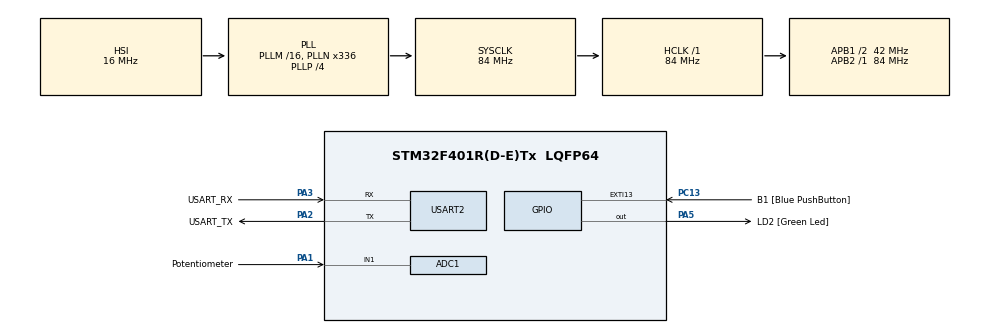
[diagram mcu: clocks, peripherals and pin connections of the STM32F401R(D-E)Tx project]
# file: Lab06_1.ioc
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ADC1.Channel-0\#ChannelRegularConversion=ADC_CHANNEL_1
ADC1.NbrOfConversionFlag=1
ADC1.Rank-0\#ChannelRegularConversion=1
ADC1.SamplingTime-0\#ChannelRegularConversion=ADC_SAMPLETIME_480CYCLES
ADC1.master=1
Dma.Request0=USART2_TX
Dma.USART2_TX.0.Direction=DMA_MEMORY_TO_PERIPH
Dma.USART2_TX.0.FIFOMode=DMA_FIFOMODE_DISABLE
Dma.USART2_TX.0.Instance=DMA1_Stream6
Dma.USART2_TX.0.MemDataAlignment=DMA_MDATAALIGN_BYTE
Dma.USART2_TX.0.MemInc=DMA_MINC_ENABLE
Dma.USART2_TX.0.Mode=DMA_NORMAL
Dma.USART2_TX.0.PeriphDataAlignment=DMA_PDATAALIGN_BYTE
Dma.USART2_TX.0.PeriphInc=DMA_PINC_DISABLE
Dma.USART2_TX.0.Priority=DMA_PRIORITY_HIGH
Mcu.Family=STM32F4
Mcu.Name=STM32F401R(D-E)Tx
Mcu.Package=LQFP64
NVIC.DMA1_Stream6_IRQn=true\:0\:0\:false\:false\:true\:false\:true\:true
NVIC.PriorityGroup=NVIC_PRIORITYGROUP_4
NVIC.TIM2_IRQn=true\:0\:0\:false\:false\:true\:true\:true\:true
NVIC.USART2_IRQn=true\:0\:0\:false\:false\:true\:true\:true\:true
PA1.GPIO_Label=Potentiometer
PA1.Signal=ADCx_IN1
PA13.GPIO_Label=TMS
PA13.Mode=Trace_Asynchronous_SW
PA13.Signal=SYS_JTMS-SWDIO
PA14.GPIO_Label=TCK
PA14.Mode=Trace_Asynchronous_SW
PA14.Signal=SYS_JTCK-SWCLK
PA2.GPIO_Label=USART_TX
PA2.GPIO_Mode=GPIO_MODE_AF_PP
PA2.GPIO_PuPd=GPIO_NOPULL
PA2.GPIO_Speed=GPIO_SPEED_FREQ_LOW
PA2.Mode=Asynchronous
PA2.Signal=USART2_TX
PA3.GPIO_Label=USART_RX
PA3.GPIO_Mode=GPIO_MODE_AF_PP
PA3.GPIO_PuPd=GPIO_NOPULL
PA3.GPIO_Speed=GPIO_SPEED_FREQ_LOW
PA3.Mode=Asynchronous
PA3.Signal=USART2_RX
PA5.GPIO_Label=LD2 [Green Led]
PA5.GPIO_Mode=GPIO_MODE_OUTPUT_PP
PA5.GPIO_PuPd=GPIO_NOPULL
PA5.GPIO_Speed=GPIO_SPEED_FREQ_LOW
PA5.Signal=GPIO_Output
PB3.GPIO_Label=SWO
PB3.Mode=Trace_Asynchronous_SW
PB3.Signal=SYS_JTDO-SWO
PC13-ANTI_TAMP.GPIO_Label=B1 [Blue PushButton]
PC13-ANTI_TAMP.GPIO_ModeDefaultEXTI=GPIO_MODE_IT_FALLING
PC13-ANTI_TAMP.GPIO_PuPd=GPIO_NOPULL
PC13-ANTI_TAMP.Signal=GPXTI13
PC14-OSC32_IN.Mode=LSE-External-Oscillator
PC14-OSC32_IN.Signal=RCC_OSC32_IN
PC15-OSC32_OUT.Mode=LSE-External-Oscillator
PC15-OSC32_OUT.Signal=RCC_OSC32_OUT
PH0\ -\ OSC_IN.Mode=HSE-External-Clock-Source
PH0\ -\ OSC_IN.Signal=RCC_OSC_IN
PH1\ -\ OSC_OUT.Mode=HSE-External-Clock-Source
PH1\ -\ OSC_OUT.Signal=RCC_OSC_OUT
ProjectManager.HeapSize=0x200
ProjectManager.StackSize=0x400
ProjectManager.TargetToolchain=STM32CubeIDE
RCC.48MHZClocksFreq_Value=48000000
RCC.AHBFreq_Value=84000000
RCC.APB1CLKDivider=RCC_HCLK_DIV2
RCC.APB1Freq_Value=42000000
RCC.APB1TimFreq_Value=84000000
RCC.APB2Freq_Value=84000000
RCC.APB2TimFreq_Value=84000000
RCC.CortexFreq_Value=84000000
RCC.HCLKFreq_Value=84000000
RCC.HSE_VALUE=8000000
RCC.HSI_VALUE=16000000
RCC.PLLN=336
RCC.PLLP=RCC_PLLP_DIV4
RCC.PLLQ=7
RCC.SYSCLKFreq_VALUE=84000000
RCC.SYSCLKSource=RCC_SYSCLKSOURCE_PLLCLK
RCC.VCOOutputFreq_Value=336000000
SH.ADCx_IN1.0=ADC1_IN1,IN1
TIM2.Period=839999
TIM2.Prescaler=99
USART2.VirtualMode=VM_ASYNC
VP_TIM2_VS_ClockSourceINT.Mode=Internal
board=NUCLEO-F401RE

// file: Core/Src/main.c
/* USER CODE BEGIN Header */
/**
  ******************************************************************************
  * @file           : main.c
  * @brief          : Main program body
  ******************************************************************************
  * @attention
  *
  * Copyright (c) 2026 STMicroelectronics.
  * All rights reserved.
  *
  * This software is licensed under terms that can be found in the LICENSE file
  * in the root directory of this software component.
  * If no LICENSE file comes with this software, it is provided AS-IS.
  *
  ******************************************************************************
  */
/* USER CODE END Header */
#include "main.h"

/* USER CODE BEGIN Includes */
#include "stdio.h"
#include "string.h"

/* USER CODE END Includes */

ADC_HandleTypeDef hadc1;

TIM_HandleTypeDef htim2;

UART_HandleTypeDef huart2;
DMA_HandleTypeDef hdma_usart2_tx;

/* USER CODE BEGIN PV */
uint32_t adc_value=0;
float voltage=0.0;
uint8_t tx_buf[32];
int len;
/* USER CODE END PV */

void SystemClock_Config(void);
static void MX_GPIO_Init(void);
static void MX_DMA_Init(void);
static void MX_USART2_UART_Init(void);
static void MX_ADC1_Init(void);
static void MX_TIM2_Init(void);

/* USER CODE BEGIN 0 */
void HAL_TIM_PeriodElapsedCallback(TIM_HandleTypeDef *htim)
{
	if(htim->Instance == TIM2){
		len = sprintf((char*)tx_buf, "Potentiometer: %.2f V\r\n", voltage);
		HAL_UART_Transmit_DMA(&huart2, tx_buf, len);
	}
}

/* USER CODE END 0 */

int main(void)
{

  /* MCU Configuration--------------------------------------------------------*/

  /* Reset of all peripherals, Initializes the Flash interface and the Systick. */
  HAL_Init();

  /* Configure the system clock */
  SystemClock_Config();

  /* Initialize all configured peripherals */
  MX_GPIO_Init();
  MX_DMA_Init();
  MX_USART2_UART_Init();
  MX_ADC1_Init();
  MX_TIM2_Init();
  /* USER CODE BEGIN 2 */
  HAL_TIM_Base_Start_IT(&htim2);

  /* USER CODE END 2 */

  /* Infinite loop */
  while (1)
  {

    /* USER CODE BEGIN 3 */
	  HAL_ADC_Start(&hadc1);
	  HAL_ADC_PollForConversion(&hadc1, 100);

	  adc_value = HAL_ADC_GetValue(&hadc1);
	  voltage = ((float)adc_value * 3.3f) / 4095.0f;

	  HAL_ADC_Stop(&hadc1);
  }
  /* USER CODE END 3 */
}

void SystemClock_Config(void)
{
  RCC_OscInitTypeDef RCC_OscInitStruct = {0};
  RCC_ClkInitTypeDef RCC_ClkInitStruct = {0};

  /** Configure the main internal regulator output voltage
  */
  __HAL_RCC_PWR_CLK_ENABLE();
  __HAL_PWR_VOLTAGESCALING_CONFIG(PWR_REGULATOR_VOLTAGE_SCALE2);

  /** Initializes the RCC Oscillators according to the specified parameters
  * in the RCC_OscInitTypeDef structure.
  */
  RCC_OscInitStruct.OscillatorType = RCC_OSCILLATORTYPE_HSI;
  RCC_OscInitStruct.HSIState = RCC_HSI_ON;
  RCC_OscInitStruct.HSICalibrationValue = RCC_HSICALIBRATION_DEFAULT;
  RCC_OscInitStruct.PLL.PLLState = RCC_PLL_ON;
  RCC_OscInitStruct.PLL.PLLSource = RCC_PLLSOURCE_HSI;
  RCC_OscInitStruct.PLL.PLLM = 16;
  RCC_OscInitStruct.PLL.PLLN = 336;
  RCC_OscInitStruct.PLL.PLLP = RCC_PLLP_DIV4;
  RCC_OscInitStruct.PLL.PLLQ = 7;
  if (HAL_RCC_OscConfig(&RCC_OscInitStruct) != HAL_OK)
  {
    Error_Handler();
  }

  /** Initializes the CPU, AHB and APB buses clocks
  */
  RCC_ClkInitStruct.ClockType = RCC_CLOCKTYPE_HCLK|RCC_CLOCKTYPE_SYSCLK
                              |RCC_CLOCKTYPE_PCLK1|RCC_CLOCKTYPE_PCLK2;
  RCC_ClkInitStruct.SYSCLKSource = RCC_SYSCLKSOURCE_PLLCLK;
  RCC_ClkInitStruct.AHBCLKDivider = RCC_SYSCLK_DIV1;
  RCC_ClkInitStruct.APB1CLKDivider = RCC_HCLK_DIV2;
  RCC_ClkInitStruct.APB2CLKDivider = RCC_HCLK_DIV1;

  if (HAL_RCC_ClockConfig(&RCC_ClkInitStruct, FLASH_LATENCY_2) != HAL_OK)
  {
    Error_Handler();
  }
}

static void MX_ADC1_Init(void)
{

  ADC_ChannelConfTypeDef sConfig = {0};

  /** Configure the global features of the ADC (Clock, Resolution, Data Alignment and number of conversion)
  */
  hadc1.Instance = ADC1;
  hadc1.Init.ClockPrescaler = ADC_CLOCK_SYNC_PCLK_DIV4;
  hadc1.Init.Resolution = ADC_RESOLUTION_12B;
  hadc1.Init.ScanConvMode = DISABLE;
  hadc1.Init.ContinuousConvMode = DISABLE;
  hadc1.Init.DiscontinuousConvMode = DISABLE;
  hadc1.Init.ExternalTrigConvEdge = ADC_EXTERNALTRIGCONVEDGE_NONE;
  hadc1.Init.ExternalTrigConv = ADC_SOFTWARE_START;
  hadc1.Init.DataAlign = ADC_DATAALIGN_RIGHT;
  hadc1.Init.NbrOfConversion = 1;
  hadc1.Init.DMAContinuousRequests = DISABLE;
  hadc1.Init.EOCSelection = ADC_EOC_SINGLE_CONV;
  if (HAL_ADC_Init(&hadc1) != HAL_OK)
  {
    Error_Handler();
  }

  /** Configure for the selected ADC regular channel its corresponding rank in the sequencer and its sample time.
  */
  sConfig.Channel = ADC_CHANNEL_1;
  sConfig.Rank = 1;
  sConfig.SamplingTime = ADC_SAMPLETIME_480CYCLES;
  if (HAL_ADC_ConfigChannel(&hadc1, &sConfig) != HAL_OK)
  {
    Error_Handler();
  }

}

static void MX_TIM2_Init(void)
{

  TIM_ClockConfigTypeDef sClockSourceConfig = {0};
  TIM_MasterConfigTypeDef sMasterConfig = {0};

  htim2.Instance = TIM2;
  htim2.Init.Prescaler = 99;
  htim2.Init.CounterMode = TIM_COUNTERMODE_UP;
  htim2.Init.Period = 839999;
  htim2.Init.ClockDivision = TIM_CLOCKDIVISION_DIV1;
  htim2.Init.AutoReloadPreload = TIM_AUTORELOAD_PRELOAD_DISABLE;
  if (HAL_TIM_Base_Init(&htim2) != HAL_OK)
  {
    Error_Handler();
  }
  sClockSourceConfig.ClockSource = TIM_CLOCKSOURCE_INTERNAL;
  if (HAL_TIM_ConfigClockSource(&htim2, &sClockSourceConfig) != HAL_OK)
  {
    Error_Handler();
  }
  sMasterConfig.MasterOutputTrigger = TIM_TRGO_RESET;
  sMasterConfig.MasterSlaveMode = TIM_MASTERSLAVEMODE_DISABLE;
  if (HAL_TIMEx_MasterConfigSynchronization(&htim2, &sMasterConfig) != HAL_OK)
  {
    Error_Handler();
  }

}

static void MX_USART2_UART_Init(void)
{

  huart2.Instance = USART2;
  huart2.Init.BaudRate = 115200;
  huart2.Init.WordLength = UART_WORDLENGTH_8B;
  huart2.Init.StopBits = UART_STOPBITS_1;
  huart2.Init.Parity = UART_PARITY_NONE;
  huart2.Init.Mode = UART_MODE_TX_RX;
  huart2.Init.HwFlowCtl = UART_HWCONTROL_NONE;
  huart2.Init.OverSampling = UART_OVERSAMPLING_16;
  if (HAL_UART_Init(&huart2) != HAL_OK)
  {
    Error_Handler();
  }

}

static void MX_DMA_Init(void)
{

  /* DMA controller clock enable */
  __HAL_RCC_DMA1_CLK_ENABLE();

  /* DMA interrupt init */
  /* DMA1_Stream6_IRQn interrupt configuration */
  HAL_NVIC_SetPriority(DMA1_Stream6_IRQn, 0, 0);
  HAL_NVIC_EnableIRQ(DMA1_Stream6_IRQn);

}

static void MX_GPIO_Init(void)
{
  GPIO_InitTypeDef GPIO_InitStruct = {0};

  /* GPIO Ports Clock Enable */
  __HAL_RCC_GPIOC_CLK_ENABLE();
  __HAL_RCC_GPIOH_CLK_ENABLE();
  __HAL_RCC_GPIOA_CLK_ENABLE();
  __HAL_RCC_GPIOB_CLK_ENABLE();

  /*Configure GPIO pin Output Level */
  HAL_GPIO_WritePin(LD2_GPIO_Port, LD2_Pin, GPIO_PIN_RESET);

  /*Configure GPIO pin : B1_Pin */
  GPIO_InitStruct.Pin = B1_Pin;
  GPIO_InitStruct.Mode = GPIO_MODE_IT_FALLING;
  GPIO_InitStruct.Pull = GPIO_NOPULL;
  HAL_GPIO_Init(B1_GPIO_Port, &GPIO_InitStruct);

  /*Configure GPIO pin : LD2_Pin */
  GPIO_InitStruct.Pin = LD2_Pin;
  GPIO_InitStruct.Mode = GPIO_MODE_OUTPUT_PP;
  GPIO_InitStruct.Pull = GPIO_NOPULL;
  GPIO_InitStruct.Speed = GPIO_SPEED_FREQ_LOW;
  HAL_GPIO_Init(LD2_GPIO_Port, &GPIO_InitStruct);

}

void Error_Handler(void)
{
  __disable_irq();
  while (1)
  {
  }
}
